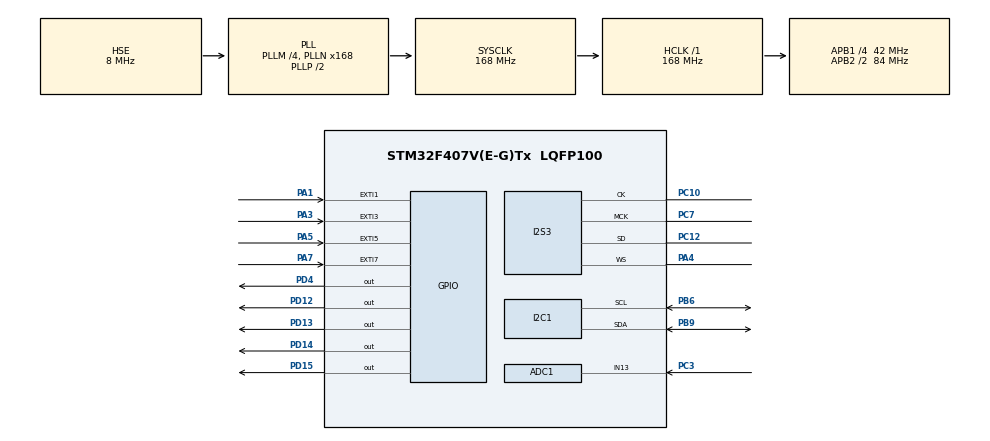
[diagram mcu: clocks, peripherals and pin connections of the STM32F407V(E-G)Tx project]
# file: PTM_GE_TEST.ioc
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ADC1.Channel-12\#ChannelRegularConversion=ADC_CHANNEL_13
ADC1.ClockPrescaler=ADC_CLOCK_SYNC_PCLK_DIV8
ADC1.ContinuousConvMode=ENABLE
ADC1.DMAContinuousRequests=ENABLE
ADC1.ExternalTrigConv=ADC_SOFTWARE_START
ADC1.NbrOfConversion=1
ADC1.NbrOfConversionFlag=1
ADC1.Rank-12\#ChannelRegularConversion=1
ADC1.SamplingTime-12\#ChannelRegularConversion=ADC_SAMPLETIME_3CYCLES
ADC1.ScanConvMode=ENABLE
ADC1.master=1
Dma.ADC1.1.Direction=DMA_PERIPH_TO_MEMORY
Dma.ADC1.1.FIFOMode=DMA_FIFOMODE_ENABLE
Dma.ADC1.1.FIFOThreshold=DMA_FIFO_THRESHOLD_FULL
Dma.ADC1.1.Instance=DMA2_Stream0
Dma.ADC1.1.MemBurst=DMA_MBURST_SINGLE
Dma.ADC1.1.MemDataAlignment=DMA_MDATAALIGN_HALFWORD
Dma.ADC1.1.MemInc=DMA_MINC_ENABLE
Dma.ADC1.1.Mode=DMA_CIRCULAR
Dma.ADC1.1.PeriphBurst=DMA_PBURST_SINGLE
Dma.ADC1.1.PeriphDataAlignment=DMA_PDATAALIGN_HALFWORD
Dma.ADC1.1.PeriphInc=DMA_PINC_DISABLE
Dma.ADC1.1.Priority=DMA_PRIORITY_LOW
Dma.Request0=SPI3_TX
Dma.Request1=ADC1
Dma.SPI3_TX.0.Direction=DMA_MEMORY_TO_PERIPH
Dma.SPI3_TX.0.FIFOMode=DMA_FIFOMODE_ENABLE
Dma.SPI3_TX.0.FIFOThreshold=DMA_FIFO_THRESHOLD_FULL
Dma.SPI3_TX.0.Instance=DMA1_Stream5
Dma.SPI3_TX.0.MemBurst=DMA_MBURST_SINGLE
Dma.SPI3_TX.0.MemDataAlignment=DMA_MDATAALIGN_HALFWORD
Dma.SPI3_TX.0.MemInc=DMA_MINC_ENABLE
Dma.SPI3_TX.0.Mode=DMA_CIRCULAR
Dma.SPI3_TX.0.PeriphBurst=DMA_PBURST_SINGLE
Dma.SPI3_TX.0.PeriphDataAlignment=DMA_PDATAALIGN_HALFWORD
Dma.SPI3_TX.0.PeriphInc=DMA_PINC_DISABLE
Dma.SPI3_TX.0.Priority=DMA_PRIORITY_LOW
I2S3.AudioFreq=I2S_AUDIOFREQ_48K
I2S3.ErrorAudioFreq=-2.34 %
I2S3.FullDuplexMode=I2S_FULLDUPLEXMODE_DISABLE
I2S3.Instance=SPI$Index
I2S3.RealAudioFreq=46.875 KHz
I2S3.VirtualMode=I2S_MODE_MASTER
Mcu.Family=STM32F4
Mcu.Name=STM32F407V(E-G)Tx
Mcu.Package=LQFP100
NVIC.ADC_IRQn=true\:0\:0\:false\:false\:true\:true
NVIC.DMA1_Stream5_IRQn=true\:0\:0\:false\:false\:true\:false
NVIC.DMA2_Stream0_IRQn=true\:0\:0\:false\:false\:true\:false
NVIC.EXTI1_IRQn=true\:0\:0\:false\:false\:true\:true
NVIC.EXTI3_IRQn=true\:0\:0\:false\:false\:true\:true
NVIC.EXTI9_5_IRQn=true\:0\:0\:false\:false\:true\:true
NVIC.PriorityGroup=NVIC_PRIORITYGROUP_4
NVIC.TIM2_IRQn=true\:0\:0\:false\:false\:true\:true
PA1.GPIO_PuPd=GPIO_PULLUP
PA1.Signal=GPXTI1
PA3.GPIO_PuPd=GPIO_PULLUP
PA3.Signal=GPXTI3
PA4.Mode=Half_Duplex_Master
PA4.Signal=I2S3_WS
PA5.GPIO_PuPd=GPIO_PULLUP
PA5.Signal=GPXTI5
PA7.GPIO_PuPd=GPIO_PULLUP
PA7.Signal=GPXTI7
PB6.Mode=I2C
PB6.Signal=I2C1_SCL
PB9.Mode=I2C
PB9.Signal=I2C1_SDA
PC10.Mode=Half_Duplex_Master
PC10.Signal=I2S3_CK
PC12.Mode=Half_Duplex_Master
PC12.Signal=I2S3_SD
PC3.Signal=ADCx_IN13
PC7.Mode=Master_Clock_Activated
PC7.Signal=I2S3_MCK
PD12.Signal=GPIO_Output
PD13.Signal=GPIO_Output
PD14.Signal=GPIO_Output
PD15.Signal=GPIO_Output
PD4.Signal=GPIO_Output
PH0-OSC_IN.Mode=HSE-External-Oscillator
PH0-OSC_IN.Signal=RCC_OSC_IN
PH1-OSC_OUT.Mode=HSE-External-Oscillator
PH1-OSC_OUT.Signal=RCC_OSC_OUT
ProjectManager.HeapSize=0x200
ProjectManager.StackSize=0x400
ProjectManager.TargetToolchain=SW4STM32
RCC.48MHZClocksFreq_Value=84000000
RCC.AHBFreq_Value=168000000
RCC.APB1CLKDivider=RCC_HCLK_DIV4
RCC.APB1Freq_Value=42000000
RCC.APB1TimFreq_Value=84000000
RCC.APB2CLKDivider=RCC_HCLK_DIV2
RCC.APB2Freq_Value=84000000
RCC.APB2TimFreq_Value=168000000
RCC.CortexFreq_Value=168000000
RCC.HCLKFreq_Value=168000000
RCC.HSE_VALUE=8000000
RCC.HSI_VALUE=16000000
RCC.LSE_VALUE=32768
RCC.PLLM=4
RCC.PLLN=168
RCC.PLLSourceVirtual=RCC_PLLSOURCE_HSE
RCC.SYSCLKFreq_VALUE=168000000
RCC.SYSCLKSource=RCC_SYSCLKSOURCE_PLLCLK
RCC.VCOOutputFreq_Value=336000000
SH.ADCx_IN13.0=ADC1_IN13,IN13
TIM2.Period=699
TIM2.Prescaler=8399
TIM2.TIM_MasterOutputTrigger=TIM_TRGO_RESET
TIM2.TIM_MasterSlaveMode=TIM_MASTERSLAVEMODE_DISABLE
VP_TIM2_VS_ClockSourceINT.Mode=Internal
board=custom

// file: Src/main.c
/* USER CODE BEGIN Header */
/**
  ******************************************************************************
  * @file           : main.c
  * @brief          : Main program body
  ******************************************************************************
  ** This notice applies to any and all portions of this file
  * that are not between comment pairs USER CODE BEGIN and
  * USER CODE END. Other portions of this file, whether
  * inserted by the user or by software development tools
  * are owned by their respective copyright owners.
  *
  * COPYRIGHT(c) 2019 STMicroelectronics
  *
  * Redistribution and use in source and binary forms, with or without modification,
  * are permitted provided that the following conditions are met:
  *   1. Redistributions of source code must retain the above copyright notice,
  *      this list of conditions and the following disclaimer.
  *   2. Redistributions in binary form must reproduce the above copyright notice,
  *      this list of conditions and the following disclaimer in the documentation
  *      and/or other materials provided with the distribution.
  *   3. Neither the name of STMicroelectronics nor the names of its contributors
  *      may be used to endorse or promote products derived from this software
  *      without specific prior written permission.
  *
  * THIS SOFTWARE IS PROVIDED BY THE COPYRIGHT HOLDERS AND CONTRIBUTORS "AS IS"
  * AND ANY EXPRESS OR IMPLIED WARRANTIES, INCLUDING, BUT NOT LIMITED TO, THE
  * IMPLIED WARRANTIES OF MERCHANTABILITY AND FITNESS FOR A PARTICULAR PURPOSE ARE
  * DISCLAIMED. IN NO EVENT SHALL THE COPYRIGHT HOLDER OR CONTRIBUTORS BE LIABLE
  * FOR ANY DIRECT, INDIRECT, INCIDENTAL, SPECIAL, EXEMPLARY, OR CONSEQUENTIAL
  * DAMAGES (INCLUDING, BUT NOT LIMITED TO, PROCUREMENT OF SUBSTITUTE GOODS OR
  * SERVICES; LOSS OF USE, DATA, OR PROFITS; OR BUSINESS INTERRUPTION) HOWEVER
  * CAUSED AND ON ANY THEORY OF LIABILITY, WHETHER IN CONTRACT, STRICT LIABILITY,
  * OR TORT (INCLUDING NEGLIGENCE OR OTHERWISE) ARISING IN ANY WAY OUT OF THE USE
  * OF THIS SOFTWARE, EVEN IF ADVISED OF THE POSSIBILITY OF SUCH DAMAGE.
  *
  ******************************************************************************
  */
/* USER CODE END Header */

#include "main.h"

/* USER CODE BEGIN Includes */
#include "MY_CS43L22.h"
#include "math.h"
/* USER CODE END Includes */

/* USER CODE BEGIN PD */
#define SAMPLE 1
#define PI 3.14159
/* USER CODE END PD */

ADC_HandleTypeDef hadc1;
DMA_HandleTypeDef hdma_adc1;

I2C_HandleTypeDef hi2c1;

I2S_HandleTypeDef hi2s3;
DMA_HandleTypeDef hdma_spi3_tx;

TIM_HandleTypeDef htim2;

/* USER CODE BEGIN PV */
uint16_t value=0;

uint16_t dataI2S[SAMPLE];
uint16_t dataADC[SAMPLE];
uint16_t echo[SAMPLE];

int j=0;
int echo_it=0;

int echo_effect=0;
int dist_effect=0;
int tremolo_effect=0;

uint32_t echo_buff[15000]={0};
/* USER CODE END PV */

void SystemClock_Config(void);
static void MX_GPIO_Init(void);
static void MX_DMA_Init(void);
static void MX_I2C1_Init(void);
static void MX_I2S3_Init(void);
static void MX_ADC1_Init(void);
static void MX_TIM2_Init(void);
/* USER CODE BEGIN PFP */
void ECHO(uint16_t *dataADC){
	if (echo_it < 5000) {
		echo_buff[echo_it] = dataADC[0];
	} else if (echo_it < 10000) {
	    dataADC[0] += echo_buff[echo_it - 5000] * 0.7;
	    echo_buff[echo_it] = dataADC[0];
	} else if (echo_it <= 14999) {
	    dataADC[0] += echo_buff[echo_it - 5000] * 0.7;
	    echo_buff[echo_it-10000] = dataADC[0];
	}

	dataADC[0] = dataADC[0]/2;

	if (echo_it >= 14999){
	    echo_it = 5000;
	} else {
	    echo_it++;
	}
	dataI2S[0]=dataADC[0];
}

void TREMOLO(uint16_t *dataADC){
	dataI2S[0] = dataADC[0] * 0.7 * sin(2*PI*j/1300)+1750;
	j++;
	if(j==1300) j=0;

}

void DIST(uint16_t *dataADC){
	if(dataADC[0]>1800){
		dataI2S[0]=(uint16_t)(dataADC[0]*1.2);
	}else if(dataADC[0]<1555){
		dataI2S[0]=(uint16_t)(dataADC[0]*0.8);
	}else{
		dataI2S[0]=dataADC[0];
	}
}
void HAL_TIM_PeriodElapsedCallback(TIM_HandleTypeDef *htim){
	if(htim->Instance==TIM2){
		if(HAL_GPIO_ReadPin(GPIOA, GPIO_PIN_1)==GPIO_PIN_RESET){
			HAL_GPIO_TogglePin(GPIOD, GPIO_PIN_12);
			HAL_GPIO_WritePin(GPIOD, GPIO_PIN_14, 0);
			HAL_GPIO_WritePin(GPIOD, GPIO_PIN_13, 0);
			HAL_GPIO_WritePin(GPIOD, GPIO_PIN_15, 0);
			HAL_TIM_Base_Stop_IT(&htim2);

			if(echo_effect==0){
				echo_effect=1;
				dist_effect=0;
				tremolo_effect=0;
			}else{
				echo_effect=0;
				HAL_GPIO_WritePin(GPIOD, GPIO_PIN_13, 1);
			}
		}else if(HAL_GPIO_ReadPin(GPIOA, GPIO_PIN_3)==GPIO_PIN_RESET){

			HAL_GPIO_TogglePin(GPIOD, GPIO_PIN_14);
			HAL_GPIO_WritePin(GPIOD, GPIO_PIN_12, 0);
			HAL_GPIO_WritePin(GPIOD, GPIO_PIN_13, 0);
			HAL_GPIO_WritePin(GPIOD, GPIO_PIN_15, 0);
			HAL_TIM_Base_Stop_IT(&htim2);
			if(tremolo_effect==0){
				tremolo_effect=1;
				dist_effect=0;
				echo_effect=0;
			}else{
				tremolo_effect=0;
				HAL_GPIO_WritePin(GPIOD, GPIO_PIN_13, 1);
			}
		}else if(HAL_GPIO_ReadPin(GPIOA, GPIO_PIN_5)==GPIO_PIN_RESET){
			HAL_GPIO_WritePin(GPIOD, GPIO_PIN_13, 1);
			HAL_GPIO_WritePin(GPIOD, GPIO_PIN_12, 0);
			HAL_GPIO_WritePin(GPIOD, GPIO_PIN_14, 0);
			HAL_GPIO_WritePin(GPIOD, GPIO_PIN_15, 0);

			HAL_TIM_Base_Stop_IT(&htim2);
			tremolo_effect=0;
			dist_effect=0;
			echo_effect=0;

		}else if(HAL_GPIO_ReadPin(GPIOA, GPIO_PIN_7)==GPIO_PIN_RESET){
			HAL_GPIO_TogglePin(GPIOD, GPIO_PIN_15);
			HAL_GPIO_WritePin(GPIOD, GPIO_PIN_12, 0);
			HAL_GPIO_WritePin(GPIOD, GPIO_PIN_13, 0);
			HAL_GPIO_WritePin(GPIOD, GPIO_PIN_14, 0);
			HAL_TIM_Base_Stop_IT(&htim2);

			if(dist_effect==0){
				dist_effect=1;
				tremolo_effect=0;
				echo_effect=0;
			}else{
				dist_effect=0;
				HAL_GPIO_WritePin(GPIOD, GPIO_PIN_13, 1);
			}

		}
	}
}

void HAL_GPIO_EXTI_Callback(uint16_t GPIO_Pin){
 	 HAL_TIM_Base_Start_IT(&htim2);
}

void HAL_ADC_ConvCpltCallback(ADC_HandleTypeDef* hadc) {
	HAL_ADC_Stop_DMA(&hadc1);

	if(echo_effect==1) {
		ECHO(dataADC);
	}else if(dist_effect==1) {
		DIST(dataADC);
	}else if(tremolo_effect==1){
		TREMOLO(dataADC);
	}else{
		dataI2S[0]=dataADC[0];
	}

	HAL_I2S_Transmit_DMA(&hi2s3, (uint16_t *)dataI2S, SAMPLE);
	HAL_ADC_Start_DMA(&hadc1, dataADC, SAMPLE);
}

/* USER CODE END PFP */

int main(void)
{

  /* MCU Configuration--------------------------------------------------------*/

  /* Reset of all peripherals, Initializes the Flash interface and the Systick. */
  HAL_Init();

  /* Configure the system clock */
  SystemClock_Config();

  /* Initialize all configured peripherals */
  MX_GPIO_Init();
  MX_DMA_Init();
  MX_I2C1_Init();
  MX_I2S3_Init();
  MX_ADC1_Init();
  MX_TIM2_Init();
  /* USER CODE BEGIN 2 */

  CS43_Init(hi2c1, MODE_I2S);
  CS43_SetVolume(90);
  CS43_Enable_RightLeft(CS43_RIGHT_LEFT);
  CS43_Start();

  HAL_ADC_Start(&hadc1);
  HAL_ADC_Start_IT(&hadc1);

  HAL_ADC_Start_DMA(&hadc1, dataADC, SAMPLE);

  HAL_GPIO_WritePin(GPIOD, GPIO_PIN_13, 1);

  /* USER CODE END 2 */

  /* Infinite loop */
  while (1)
  {

  }
}

void SystemClock_Config(void)
{
  RCC_OscInitTypeDef RCC_OscInitStruct = {0};
  RCC_ClkInitTypeDef RCC_ClkInitStruct = {0};
  RCC_PeriphCLKInitTypeDef PeriphClkInitStruct = {0};

  /**Configure the main internal regulator output voltage
  */
  __HAL_RCC_PWR_CLK_ENABLE();
  __HAL_PWR_VOLTAGESCALING_CONFIG(PWR_REGULATOR_VOLTAGE_SCALE1);
  /**Initializes the CPU, AHB and APB busses clocks
  */
  RCC_OscInitStruct.OscillatorType = RCC_OSCILLATORTYPE_HSE;
  RCC_OscInitStruct.HSEState = RCC_HSE_ON;
  RCC_OscInitStruct.PLL.PLLState = RCC_PLL_ON;
  RCC_OscInitStruct.PLL.PLLSource = RCC_PLLSOURCE_HSE;
  RCC_OscInitStruct.PLL.PLLM = 4;
  RCC_OscInitStruct.PLL.PLLN = 168;
  RCC_OscInitStruct.PLL.PLLP = RCC_PLLP_DIV2;
  RCC_OscInitStruct.PLL.PLLQ = 4;
  if (HAL_RCC_OscConfig(&RCC_OscInitStruct) != HAL_OK)
  {
    Error_Handler();
  }
  /**Initializes the CPU, AHB and APB busses clocks
  */
  RCC_ClkInitStruct.ClockType = RCC_CLOCKTYPE_HCLK|RCC_CLOCKTYPE_SYSCLK
                              |RCC_CLOCKTYPE_PCLK1|RCC_CLOCKTYPE_PCLK2;
  RCC_ClkInitStruct.SYSCLKSource = RCC_SYSCLKSOURCE_PLLCLK;
  RCC_ClkInitStruct.AHBCLKDivider = RCC_SYSCLK_DIV1;
  RCC_ClkInitStruct.APB1CLKDivider = RCC_HCLK_DIV4;
  RCC_ClkInitStruct.APB2CLKDivider = RCC_HCLK_DIV2;

  if (HAL_RCC_ClockConfig(&RCC_ClkInitStruct, FLASH_LATENCY_5) != HAL_OK)
  {
    Error_Handler();
  }
  PeriphClkInitStruct.PeriphClockSelection = RCC_PERIPHCLK_I2S;
  PeriphClkInitStruct.PLLI2S.PLLI2SN = 192;
  PeriphClkInitStruct.PLLI2S.PLLI2SR = 2;
  if (HAL_RCCEx_PeriphCLKConfig(&PeriphClkInitStruct) != HAL_OK)
  {
    Error_Handler();
  }
}

static void MX_ADC1_Init(void)
{

  ADC_ChannelConfTypeDef sConfig = {0};

  /**Configure the global features of the ADC (Clock, Resolution, Data Alignment and number of conversion)
  */
  hadc1.Instance = ADC1;
  hadc1.Init.ClockPrescaler = ADC_CLOCK_SYNC_PCLK_DIV8;
  hadc1.Init.Resolution = ADC_RESOLUTION_12B;
  hadc1.Init.ScanConvMode = ENABLE;
  hadc1.Init.ContinuousConvMode = ENABLE;
  hadc1.Init.DiscontinuousConvMode = DISABLE;
  hadc1.Init.ExternalTrigConvEdge = ADC_EXTERNALTRIGCONVEDGE_NONE;
  hadc1.Init.ExternalTrigConv = ADC_SOFTWARE_START;
  hadc1.Init.DataAlign = ADC_DATAALIGN_RIGHT;
  hadc1.Init.NbrOfConversion = 1;
  hadc1.Init.DMAContinuousRequests = ENABLE;
  hadc1.Init.EOCSelection = ADC_EOC_SINGLE_CONV;
  if (HAL_ADC_Init(&hadc1) != HAL_OK)
  {
    Error_Handler();
  }
  /**Configure for the selected ADC regular channel its corresponding rank in the sequencer and its sample time.
  */
  sConfig.Channel = ADC_CHANNEL_13;
  sConfig.Rank = 1;
  sConfig.SamplingTime = ADC_SAMPLETIME_3CYCLES;
  if (HAL_ADC_ConfigChannel(&hadc1, &sConfig) != HAL_OK)
  {
    Error_Handler();
  }

}

static void MX_I2C1_Init(void)
{

  hi2c1.Instance = I2C1;
  hi2c1.Init.ClockSpeed = 100000;
  hi2c1.Init.DutyCycle = I2C_DUTYCYCLE_2;
  hi2c1.Init.OwnAddress1 = 0;
  hi2c1.Init.AddressingMode = I2C_ADDRESSINGMODE_7BIT;
  hi2c1.Init.DualAddressMode = I2C_DUALADDRESS_DISABLE;
  hi2c1.Init.OwnAddress2 = 0;
  hi2c1.Init.GeneralCallMode = I2C_GENERALCALL_DISABLE;
  hi2c1.Init.NoStretchMode = I2C_NOSTRETCH_DISABLE;
  if (HAL_I2C_Init(&hi2c1) != HAL_OK)
  {
    Error_Handler();
  }

}

static void MX_I2S3_Init(void)
{

  hi2s3.Instance = SPI3;
  hi2s3.Init.Mode = I2S_MODE_MASTER_TX;
  hi2s3.Init.Standard = I2S_STANDARD_PHILIPS;
  hi2s3.Init.DataFormat = I2S_DATAFORMAT_16B;
  hi2s3.Init.MCLKOutput = I2S_MCLKOUTPUT_ENABLE;
  hi2s3.Init.AudioFreq = I2S_AUDIOFREQ_48K;
  hi2s3.Init.CPOL = I2S_CPOL_LOW;
  hi2s3.Init.ClockSource = I2S_CLOCK_PLL;
  hi2s3.Init.FullDuplexMode = I2S_FULLDUPLEXMODE_DISABLE;
  if (HAL_I2S_Init(&hi2s3) != HAL_OK)
  {
    Error_Handler();
  }

}

static void MX_TIM2_Init(void)
{

  TIM_ClockConfigTypeDef sClockSourceConfig = {0};
  TIM_MasterConfigTypeDef sMasterConfig = {0};

  htim2.Instance = TIM2;
  htim2.Init.Prescaler = 8399;
  htim2.Init.CounterMode = TIM_COUNTERMODE_UP;
  htim2.Init.Period = 699;
  htim2.Init.ClockDivision = TIM_CLOCKDIVISION_DIV1;
  if (HAL_TIM_Base_Init(&htim2) != HAL_OK)
  {
    Error_Handler();
  }
  sClockSourceConfig.ClockSource = TIM_CLOCKSOURCE_INTERNAL;
  if (HAL_TIM_ConfigClockSource(&htim2, &sClockSourceConfig) != HAL_OK)
  {
    Error_Handler();
  }
  sMasterConfig.MasterOutputTrigger = TIM_TRGO_RESET;
  sMasterConfig.MasterSlaveMode = TIM_MASTERSLAVEMODE_DISABLE;
  if (HAL_TIMEx_MasterConfigSynchronization(&htim2, &sMasterConfig) != HAL_OK)
  {
    Error_Handler();
  }

}

static void MX_DMA_Init(void)
{
  /* DMA controller clock enable */
  __HAL_RCC_DMA1_CLK_ENABLE();
  __HAL_RCC_DMA2_CLK_ENABLE();

  /* DMA interrupt init */
  /* DMA1_Stream5_IRQn interrupt configuration */
  HAL_NVIC_SetPriority(DMA1_Stream5_IRQn, 0, 0);
  HAL_NVIC_EnableIRQ(DMA1_Stream5_IRQn);
  /* DMA2_Stream0_IRQn interrupt configuration */
  HAL_NVIC_SetPriority(DMA2_Stream0_IRQn, 0, 0);
  HAL_NVIC_EnableIRQ(DMA2_Stream0_IRQn);

}

static void MX_GPIO_Init(void)
{
  GPIO_InitTypeDef GPIO_InitStruct = {0};

  /* GPIO Ports Clock Enable */
  __HAL_RCC_GPIOH_CLK_ENABLE();
  __HAL_RCC_GPIOC_CLK_ENABLE();
  __HAL_RCC_GPIOA_CLK_ENABLE();
  __HAL_RCC_GPIOD_CLK_ENABLE();
  __HAL_RCC_GPIOB_CLK_ENABLE();

  /*Configure GPIO pin Output Level */
  HAL_GPIO_WritePin(GPIOD, GPIO_PIN_12|GPIO_PIN_13|GPIO_PIN_14|GPIO_PIN_15
                          |GPIO_PIN_4, GPIO_PIN_RESET);

  /*Configure GPIO pins : PA1 PA3 PA5 PA7 */
  GPIO_InitStruct.Pin = GPIO_PIN_1|GPIO_PIN_3|GPIO_PIN_5|GPIO_PIN_7;
  GPIO_InitStruct.Mode = GPIO_MODE_IT_RISING;
  GPIO_InitStruct.Pull = GPIO_PULLUP;
  HAL_GPIO_Init(GPIOA, &GPIO_InitStruct);

  /*Configure GPIO pins : PD12 PD13 PD14 PD15
                           PD4 */
  GPIO_InitStruct.Pin = GPIO_PIN_12|GPIO_PIN_13|GPIO_PIN_14|GPIO_PIN_15
                          |GPIO_PIN_4;
  GPIO_InitStruct.Mode = GPIO_MODE_OUTPUT_PP;
  GPIO_InitStruct.Pull = GPIO_NOPULL;
  GPIO_InitStruct.Speed = GPIO_SPEED_FREQ_LOW;
  HAL_GPIO_Init(GPIOD, &GPIO_InitStruct);

  /* EXTI interrupt init*/
  HAL_NVIC_SetPriority(EXTI1_IRQn, 0, 0);
  HAL_NVIC_EnableIRQ(EXTI1_IRQn);

  HAL_NVIC_SetPriority(EXTI3_IRQn, 0, 0);
  HAL_NVIC_EnableIRQ(EXTI3_IRQn);

  HAL_NVIC_SetPriority(EXTI9_5_IRQn, 0, 0);
  HAL_NVIC_EnableIRQ(EXTI9_5_IRQn);

}

void Error_Handler(void)
{
}

/************************ (C) COPYRIGHT STMicroelectronics *****END OF FILE****/
